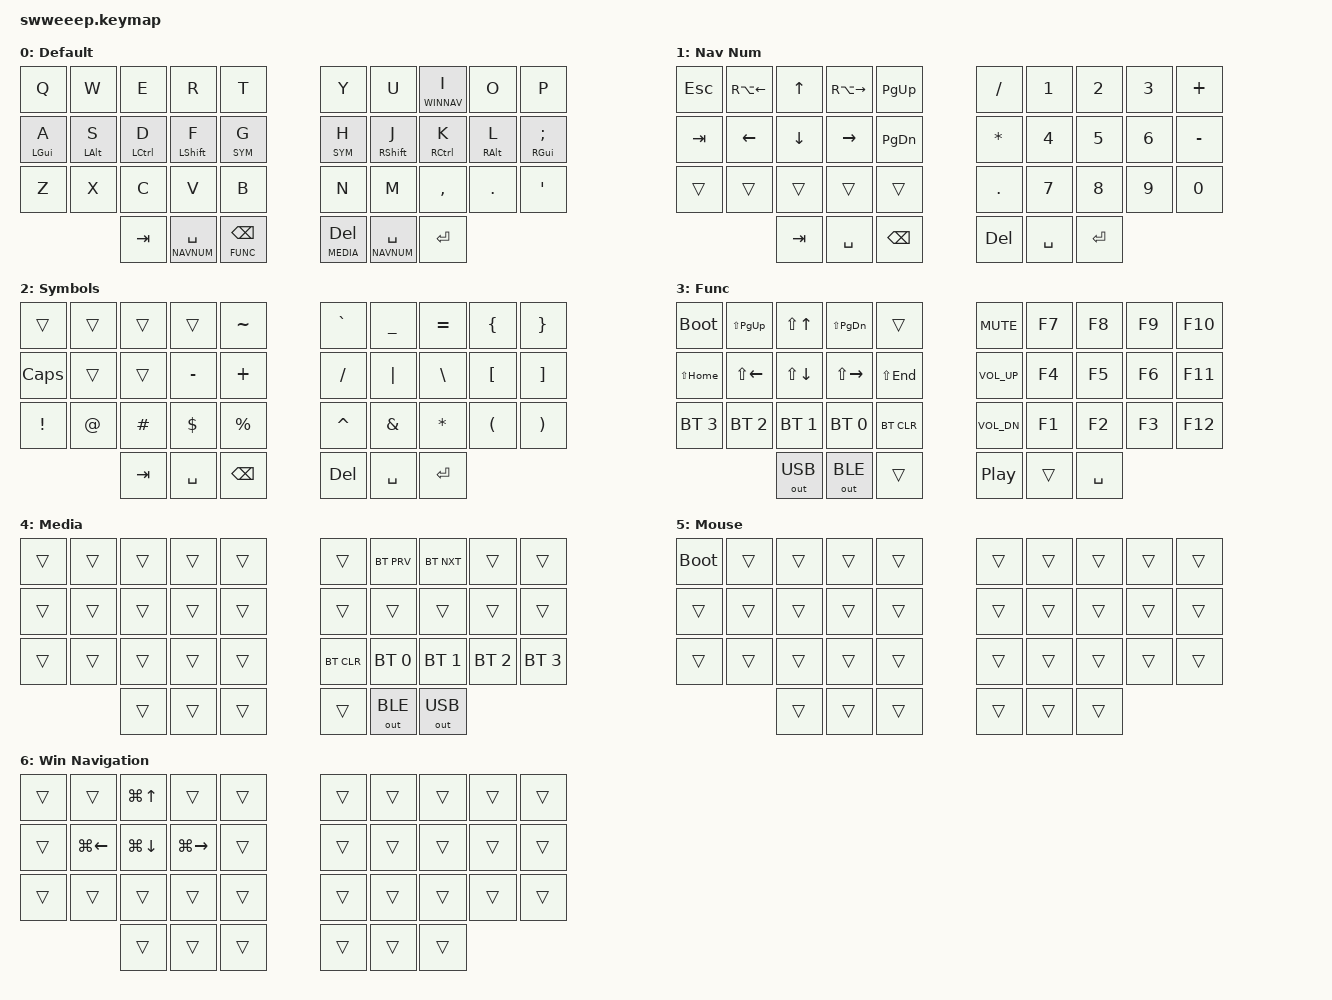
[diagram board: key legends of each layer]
/* RamPandaPuss Layout */
#include <behaviors.dtsi>
#include <dt-bindings/zmk/keys.h>
#include <dt-bindings/zmk/bt.h>
#include <dt-bindings/zmk/outputs.h>

#define DEFAULT 0
#define NAVNUM  1
#define SYM     2
#define FUNC    3
#define MEDIA   4
#define MOUSE   5
#define WINNAV  6

&caps_word {
    continue-list = <UNDERSCORE MINUS>;
};

/ {
    combos {
        compatible = "zmk,combos";
        combo_undo {
            timeout-ms = <50>;
            key-positions = <28 29>;
            bindings = <&kp QMARK>;
        };
        combo_q {
            timeout-ms = <50>;
            key-positions = <21 22>;
            bindings = <&kp Q>;
        };
        combo_semicolon {
            timeout-ms = <50>;
            key-positions = <27 28>;
            bindings = <&kp SEMI>;
        };
    };
};

/ {

    behaviors {
        hm: homerow_mods {
            compatible = "zmk,behavior-hold-tap";
            label = "HOMEROW_MODS";
            #binding-cells = <2>;
            tapping-term-ms = <200>;
            quick_tap_ms = <0>;
            flavor = "balanced";
            bindings = <&kp>, <&kp>;
        };
        hs: homerow_shift {
            compatible = "zmk,behavior-hold-tap";
            label = "HOMEROW_SHIFT";
            #binding-cells = <2>;
            tapping-term-ms = <175>;
            quick_tap_ms = <0>;
            flavor = "balanced";
            bindings = <&kp>, <&kp>;
        };
    };

    keymap {
        compatible = "zmk,keymap";

        default_layer {
            label = "Default";

            bindings = <
    &kp      Q   &kp       W   &kp      E   &kp        R     &kp        T                                    &kp          Y       &kp        U   &lt WINNAV I       &kp      O     &kp      P
    &hm LGUI A   &hm LALT  S   &hm LCTL D   &hs LSHIFT F     &lt SYM    G                                    &lt SYM      H       &hs RSHIFT J   &hm RCTL   K       &hm RALT L     &hm RGUI SEMICOLON
    &kp Z        &kp       X   &kp      C   &kp        V     &kp        B                                    &kp          N       &kp        M   &kp        COMMA   &kp      DOT   &kp      SQT
                                            &kp        TAB   &lt NAVNUM SPACE  &lt FUNC BSPC  &lt MEDIA DEL  &lt NAVNUM   SPACE   &kp RET 
            >;
        };

        navnum_layer {
            label = "Nav Num";

            bindings = <
    &kp ESC     &kp RA(LEFT)   &kp UP      &kp RA(RIGHT)   &kp PG_UP                                   &kp FSLH    &kp N1       &kp N2        &kp N3      &kp PLUS
    &kp TAB     &kp LEFT       &kp DOWN    &kp RIGHT       &kp PG_DN                                   &kp ASTRK   &kp N4       &kp N5        &kp N6      &kp MINUS
    &trans      &trans         &trans      &trans          &trans                                      &kp DOT     &kp N7       &kp N8        &kp N9      &kp N0
                                          &kp TAB          &kp SPACE       &kp BSPC       &kp DEL      &kp SPACE   &kp RET
            >;
        };

        sym_layer {
            label = "Symbols";

            bindings = <
    &trans      &trans       &trans          &trans           &kp TILDE                                   &kp GRAVE     &kp UNDERSCORE    &kp EQUAL     &kp LEFT_BRACE   &kp RIGHT_BRACE
    &kp CAPS    &trans       &trans          &kp MINUS        &kp PLUS                                    &kp SLASH     &kp PIPE          &kp BACKSLASH &kp LEFT_BRACKET &kp RIGHT_BRACKET
    &kp EXCL    &kp AT_SIGN  &kp HASH        &kp DOLLAR       &kp PERCENT                                 &kp CARET     &kp AMPERSAND     &kp ASTERISK  &kp LPAR         &kp RPAR
                                             &kp TAB          &kp SPACE       &kp BSPC        &kp DEL     &kp SPACE     &kp RET
            >;
        };

        func_layer {
            label = "Func";

            bindings = <
    &bootloader  &kp LS(PG_UP) &kp LS(UP)   &kp LS(PG_DN) &trans                                         &kp C_MUTE       &kp F7       &kp F8        &kp F9      &kp F10
    &kp LS(HOME) &kp LS(LEFT)  &kp LS(DOWN) &kp LS(RIGHT) &kp LS(END)                                    &kp K_VOL_UP     &kp F4       &kp F5        &kp F6      &kp F11
    &bt BT_SEL 3 &bt BT_SEL 2  &bt BT_SEL 1 &bt BT_SEL 0  &bt BT_CLR                                     &kp K_VOL_DN     &kp F1       &kp F2        &kp F3      &kp F12
                                            &out OUT_USB  &out OUT_BLE     &trans      &kp C_PLAY_PAUSE  &trans           &kp SPACE
            >;
        };

        media_layer {
            label = "Media";

            bindings = <
    &trans       &trans       &trans        &trans            &trans                                      &trans             &bt BT_PRV        &bt BT_NXT         &trans         &trans
    &trans       &trans       &trans        &trans            &trans                                      &trans             &trans            &trans             &trans         &trans
    &trans       &trans       &trans        &trans            &trans                                      &bt BT_CLR         &bt BT_SEL 0      &bt BT_SEL 1       &bt BT_SEL 2   &bt BT_SEL 3
                                            &trans            &trans        &trans         &trans         &out OUT_BLE       &out OUT_USB
            >;
        };

        mouse_layer {
            label = "Mouse";

            bindings = <
    &bootloader &trans      &trans      &trans      &trans                                           &trans      &trans      &trans      &trans      &trans
    &trans      &trans      &trans      &trans      &trans                                           &trans      &trans      &trans      &trans      &trans
    &trans      &trans      &trans      &trans      &trans                                           &trans      &trans      &trans      &trans      &trans
                                        &trans      &trans          &trans           &trans          &trans      &trans
            >;
        };

        winnav_layer {
            label = "Win Navigation";

            bindings = <
    &trans       &trans       &kp LG(UP)   &trans        &trans                                      &trans      &trans      &trans      &trans      &trans
    &trans       &kp LG(LEFT) &kp LG(DOWN) &kp LG(RIGHT) &trans                                      &trans      &trans      &trans      &trans      &trans
    &trans       &trans       &trans       &trans        &trans                                      &trans      &trans      &trans      &trans      &trans
                                           &trans        &trans        &trans         &trans         &trans      &trans
            >;
        };
    };
};
